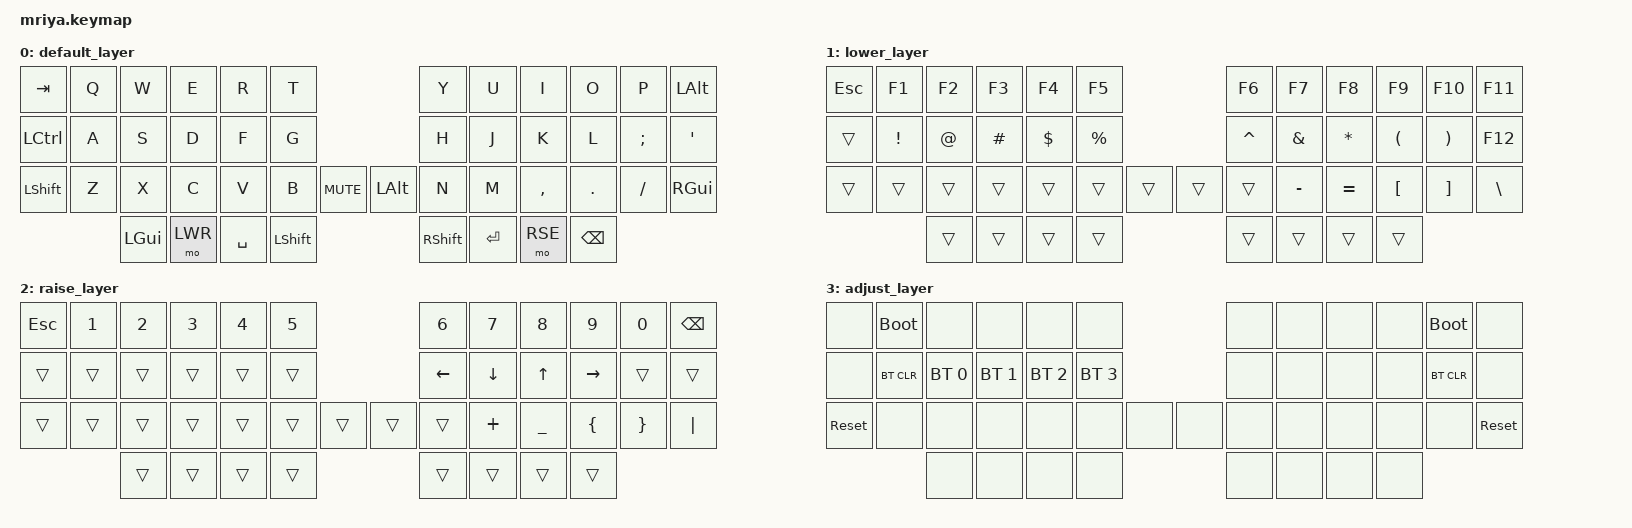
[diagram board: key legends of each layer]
/*
 * Copyright (c) 2020 The ZMK Contributors
 *
 * SPDX-License-Identifier: MIT
 */

#include <behaviors.dtsi>
#include <dt-bindings/zmk/keys.h>
#include <dt-bindings/zmk/bt.h>
#include <dt-bindings/zmk/outputs.h>
#include <dt-bindings/zmk/ext_power.h>

#define DEF 0
#define LWR 1
#define RSE 2
#define ADJ 3

&lt { quick_tap_ms = <200>; };
&mt { quick_tap_ms = <200>; };

/ {
    behaviors {
        shift_caps: shift_caps {
            compatible = "zmk,behavior-mod-morph";
            label = "SHIFT_CAPS";
            #binding-cells = <0>;
            bindings = <&kp LSHIFT>, <&kp CAPS>;
            mods = <(MOD_LSFT)>;
        };
        space_nav: space_nav {
            compatible = "zmk,behavior-hold-tap";
            label = "SPACE_NAV";
            #binding-cells = <2>;
            flavor = "tap-preferred";
            tapping-term-ms = <200>;
            quick-tap-ms = <125>;
            bindings = <&mo>, <&kp>;
        };
        bracket_un_lt: bracket_un_lt {
            compatible = "zmk,behavior-hold-tap";
            label = "BRACKET_UN_LT";
            #binding-cells = <2>;
            flavor = "tap-preferred";
            tapping-term-ms = <200>;
            quick-tap-ms = <125>;
            bindings = <&mo>, <&kp>;
        };
    };

    keymap {
        compatible = "zmk,keymap";

        default_layer {
            bindings = <
&kp TAB   &kp Q     &kp W     &kp E     &kp R     &kp T                         &kp Y     &kp U     &kp I     &kp O     &kp P     &kp LALT
&kp LCTRL &kp A     &kp S     &kp D     &kp F     &kp G                         &kp H     &kp J     &kp K     &kp L     &kp SEMI  &kp SQT
&kp LSHFT &kp Z     &kp X     &kp C     &kp V     &kp B     &kp C_MUTE &kp LALT &kp N     &kp M     &kp COMMA &kp DOT   &kp FSLH  &kp RGUI
                    &kp LGUI  &mo LWR   &kp SPACE &kp LSHFT                     &kp RSHFT &kp ENTER &mo RSE   &kp BSPC
            >;
        };

        lower_layer {
            bindings = <
&kp ESC   &kp F1    &kp F2    &kp F3    &kp F4    &kp F5                        &kp F6    &kp F7    &kp F8    &kp F9    &kp F10   &kp F11
&trans    &kp EXCL  &kp AT    &kp HASH  &kp DLLR  &kp PRCNT                     &kp CARET &kp AMPS  &kp ASTRK &kp LPAR  &kp RPAR  &kp F12
&trans    &trans    &trans    &trans    &trans    &trans    &trans   &trans     &trans    &kp MINUS &kp EQUAL &kp LBKT  &kp RBKT  &kp BSLH
                    &trans    &trans    &trans    &trans                        &trans    &trans    &trans    &trans
            >;
        };

        raise_layer {
            bindings = <
&kp ESC   &kp N1    &kp N2    &kp N3    &kp N4    &kp N5                        &kp N6    &kp N7    &kp N8    &kp N9    &kp N0    &kp BSPC
&trans    &trans    &trans    &trans    &trans    &trans                        &kp LEFT  &kp DOWN  &kp UP    &kp RIGHT &trans    &trans
&trans    &trans    &trans    &trans    &trans    &trans    &trans   &trans     &trans    &kp PLUS  &kp UNDER &kp LBRC  &kp RBRC  &kp PIPE
                    &trans    &trans    &trans    &trans                        &trans    &trans    &trans    &trans
            >;
        };

        adjust_layer {
            bindings = <
&none        &bootloader  &none        &none        &none        &none                         &none        &none        &none        &none        &bootloader  &none
&none        &bt BT_CLR   &bt BT_SEL 0 &bt BT_SEL 1 &bt BT_SEL 2 &bt BT_SEL 3                  &none        &none        &none        &none        &bt BT_CLR   &none
&sys_reset   &none        &none        &none        &none        &none        &none    &none   &none        &none        &none        &none        &none        &sys_reset
                          &none        &none        &none        &none                         &none        &none        &none        &none
            >;
        };
    };
};
